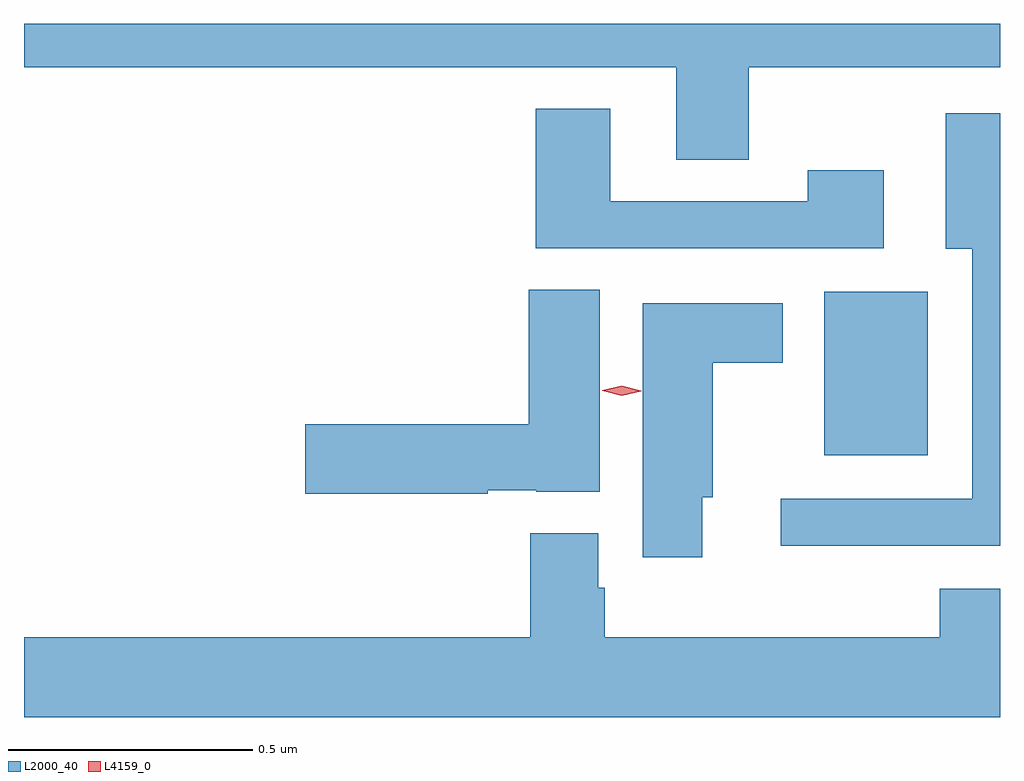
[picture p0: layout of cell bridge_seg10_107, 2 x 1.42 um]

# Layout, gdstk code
import gdstk
lib = gdstk.Library(unit=1e-6, precision=1e-09)
def R(c, l, rs):  # rectangles x0, y0, x1, y1
    for r in rs: c.add(gdstk.rectangle(r[:2], r[2:], *l))
def P(c, l, *ps):  # polygons
    for p in ps: c.add(gdstk.Polygon(p, *l))
L2000_40 = (2000, 40)
L4159_0 = (4159, 0)

bridge_seg10_107 = lib.new_cell('bridge_seg10_107')
R(bridge_seg10_107, L2000_40, [(481.862,1279.541,482.074,1279.876)])
P(bridge_seg10_107, L2000_40, [(480.222,1280.336),(481.559,1280.336),(481.559,1280.146),(481.707,1280.146),(481.707,1280.336),(482.222,1280.336),(482.222,1280.425),(480.222,1280.425)],
  [(481.984,1280.125),(481.828,1280.125),(481.828,1280.061),(481.423,1280.061),(481.423,1280.251),(481.271,1280.251),(481.271,1279.965),(481.984,1279.965)],
  [(482.222,1280.242),(482.111,1280.242),(482.111,1279.964),(482.165,1279.964),(482.165,1279.452),(481.773,1279.452),(481.773,1279.355),(482.222,1279.355)],
  [(481.172,1279.469),(481.272,1279.469),(481.272,1279.466),(481.402,1279.466),(481.402,1279.88),(481.256,1279.88),(481.256,1279.604),(480.798,1279.604),(480.798,1279.462),(481.172,1279.462)],
  [(481.612,1279.455),(481.633,1279.455),(481.633,1279.73),(481.777,1279.73),(481.777,1279.852),(481.49,1279.852),(481.49,1279.332),(481.612,1279.332)],
  [(482.222,1279.267),(482.099,1279.267),(482.099,1279.168),(481.412,1279.168),(481.412,1279.269),(481.399,1279.269),(481.399,1279.381),(481.259,1279.381),(481.259,1279.168),(480.222,1279.168),(480.222,1279.004),(482.222,1279.004)])
P(bridge_seg10_107, L4159_0, [(481.447,1279.663),(481.407,1279.673),(481.407,1279.673),(481.407,1279.674),(481.447,1279.683),(481.487,1279.673),(481.487,1279.673),(481.487,1279.672)])

lib.write_gds('bridge_seg10_107.gds')
